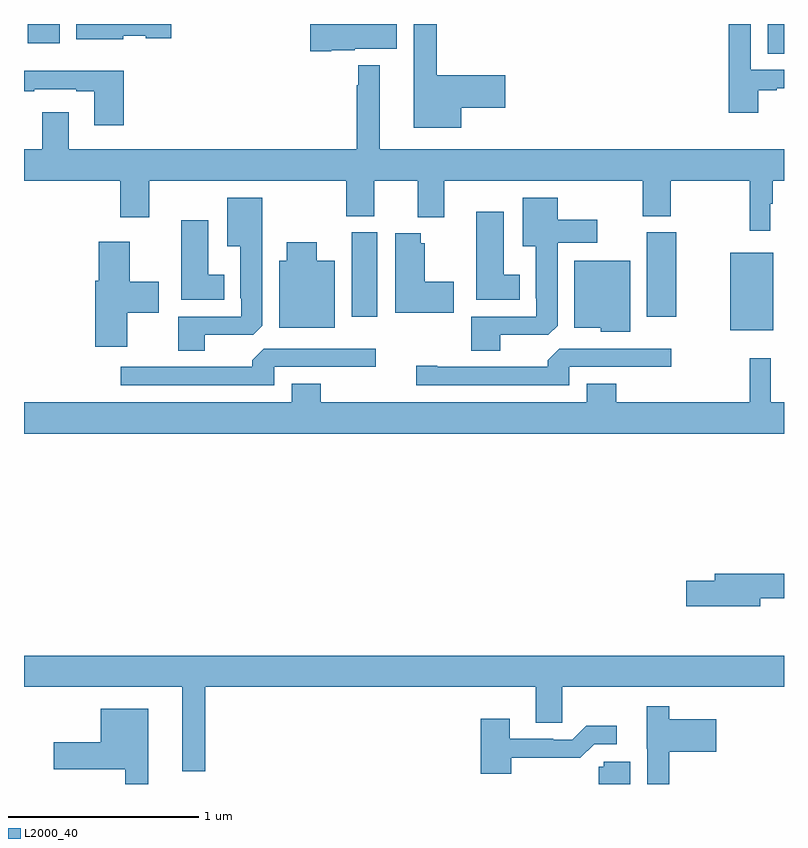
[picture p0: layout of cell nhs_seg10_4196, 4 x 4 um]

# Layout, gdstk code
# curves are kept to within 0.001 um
import gdstk
lib = gdstk.Library(unit=1e-6, precision=1e-09)
def R(c, l, rs):  # rectangles x0, y0, x1, y1
    for r in rs: c.add(gdstk.rectangle(r[:2], r[2:], *l))
def P(c, l, *ps):  # polygons
    for p in ps: c.add(gdstk.Polygon(p, *l))
L2000_40 = (2000, 40)

nhs_seg10_4196 = lib.new_cell('nhs_seg10_4196')
R(nhs_seg10_4196, L2000_40, [(348.716,1272.887,348.943,1273.297), (346.724,1272.96,346.858,1273.404), (348.278,1272.96,348.433,1273.404), (348.914,1274.344,349,1274.5), (345.02,1274.4,345.187,1274.5)])
P(nhs_seg10_4196, L2000_40, [(348.865,1274.151),(348.961,1274.151),(348.961,1274.163),(349,1274.163),(349,1274.259),(348.825,1274.259),(348.825,1274.5),(348.709,1274.5),(348.709,1274.034),(348.865,1274.034)],
  [(345.522,1274.438),(345.642,1274.438),(345.642,1274.426),(345.775,1274.426),(345.775,1274.5),(345.275,1274.5),(345.275,1274.42),(345.522,1274.42)],
  [(346.618,1274.363),(346.74,1274.363),(346.74,1274.369),(346.963,1274.369),(346.963,1274.5),(346.506,1274.5),(346.506,1274.357),(346.618,1274.357)],
  [(347.302,1274.06),(347.533,1274.06),(347.533,1274.231),(347.173,1274.231),(347.173,1274.5),(347.051,1274.5),(347.051,1273.955),(347.302,1273.955)],
  [(348.928,1273.553),(348.94,1273.553),(348.94,1273.676),(349,1273.676),(349,1273.84),(346.873,1273.84),(346.873,1274.284),(346.759,1274.284),(346.759,1274.177),(346.752,1274.177),(346.752,1273.84),(345.235,1273.84),(345.235,1274.035),(345.095,1274.035),(345.095,1273.84),(345,1273.84),(345,1273.676),(345.506,1273.676),(345.506,1273.482),(345.658,1273.482),(345.658,1273.676),(346.696,1273.676),(346.696,1273.489),(346.843,1273.489),(346.843,1273.676),(347.072,1273.676),(347.072,1273.484),(347.212,1273.484),(347.212,1273.676),(348.257,1273.676),(348.257,1273.489),(348.405,1273.489),(348.405,1273.676),(348.819,1273.676),(348.819,1273.413),(348.928,1273.413)],
  [(345.524,1274.254),(345,1274.254),(345,1274.145),(345.055,1274.145),(345.055,1274.157),(345.275,1274.157),(345.275,1274.145),(345.371,1274.145),(345.371,1273.968),(345.524,1273.968)],
  [(345.952,1272.864),(346.206,1272.864),(346.255,1272.913),(346.255,1273.585),(346.07,1273.585),(346.07,1273.331),(346.139,1273.331),(346.139,1273.057),(346.143,1273.057),(346.143,1272.96),(345.812,1272.96),(345.812,1272.781),(345.952,1272.781)],
  [(347.506,1272.864),(347.76,1272.864),(347.809,1272.913),(347.809,1273.349),(348.016,1273.349),(348.016,1273.471),(347.809,1273.471),(347.809,1273.585),(347.624,1273.585),(347.624,1273.331),(347.693,1273.331),(347.693,1273.057),(347.697,1273.057),(347.697,1272.96),(347.354,1272.96),(347.354,1272.781),(347.506,1272.781)],
  [(347.608,1273.18),(347.524,1273.18),(347.524,1273.513),(347.381,1273.513),(347.381,1273.049),(347.608,1273.049)],
  [(346.054,1273.18),(345.97,1273.18),(345.97,1273.468),(345.827,1273.468),(345.827,1273.049),(346.054,1273.049)],
  [(347.263,1273.143),(347.11,1273.143),(347.11,1273.345),(347.088,1273.345),(347.088,1273.399),(346.955,1273.399),(346.955,1272.98),(347.263,1272.98)],
  [(345.544,1272.98),(345.709,1272.98),(345.709,1273.143),(345.556,1273.143),(345.556,1273.354),(345.394,1273.354),(345.394,1273.149),(345.374,1273.149),(345.374,1272.801),(345.544,1272.801)],
  [(346.636,1273.255),(346.54,1273.255),(346.54,1273.351),(346.382,1273.351),(346.382,1273.255),(346.343,1273.255),(346.343,1272.902),(346.636,1272.902)],
  [(348.19,1273.255),(347.897,1273.255),(347.897,1272.902),(348.036,1272.902),(348.036,1272.881),(348.19,1272.881)],
  [(346.317,1272.696),(346.852,1272.696),(346.852,1272.792),(346.263,1272.792),(346.202,1272.73),(346.202,1272.696),(345.51,1272.696),(345.51,1272.6),(346.317,1272.6)],
  [(347.871,1272.696),(348.406,1272.696),(348.406,1272.792),(347.817,1272.792),(347.756,1272.73),(347.756,1272.696),(347.176,1272.696),(347.176,1272.701),(347.064,1272.701),(347.064,1272.6),(347.871,1272.6)],
  [(349,1272.508),(348.929,1272.508),(348.929,1272.742),(348.819,1272.742),(348.819,1272.508),(348.116,1272.508),(348.116,1272.607),(347.963,1272.607),(347.963,1272.508),(346.562,1272.508),(346.562,1272.607),(346.409,1272.607),(346.409,1272.508),(345,1272.508),(345,1272.344),(349,1272.344)],
  [(348.874,1271.478),(349,1271.478),(349,1271.606),(348.635,1271.606),(348.635,1271.57),(348.486,1271.57),(348.486,1271.435),(348.874,1271.435)],
  [(345.955,1271.012),(347.693,1271.012),(347.693,1270.822),(347.832,1270.822),(347.832,1271.012),(349,1271.012),(349,1271.176),(345,1271.176),(345,1271.012),(345.833,1271.012),(345.833,1270.568),(345.955,1270.568)],
  [(348.395,1270.67),(348.643,1270.67),(348.643,1270.84),(348.395,1270.84),(348.395,1270.909),(348.278,1270.909),(348.278,1270.686),(348.279,1270.686),(348.279,1270.5),(348.395,1270.5)],
  [(345.655,1270.897),(345.404,1270.897),(345.404,1270.719),(345.156,1270.719),(345.156,1270.577),(345.534,1270.577),(345.534,1270.5),(345.655,1270.5)],
  [(347.565,1270.638),(347.927,1270.637),(348,1270.71),(348.121,1270.71),(348.121,1270.807),(347.959,1270.807),(347.886,1270.734),(347.786,1270.734),(347.786,1270.737),(347.557,1270.737),(347.557,1270.843),(347.405,1270.843),(347.405,1270.553),(347.565,1270.553)],
  [(348.19,1270.617),(348.051,1270.617),(348.051,1270.59),(348.026,1270.59),(348.026,1270.5),(348.19,1270.5)])

lib.write_gds('nhs_seg10_4196.gds')
